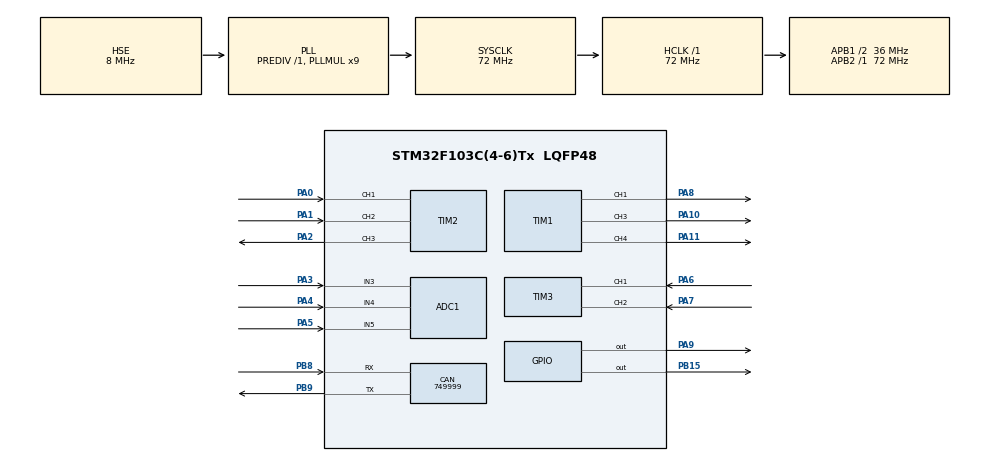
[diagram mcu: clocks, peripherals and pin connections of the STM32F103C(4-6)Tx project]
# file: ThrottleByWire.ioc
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ADC1.Channel-3\#ChannelRegularConversion=ADC_CHANNEL_3
ADC1.ContinuousConvMode=ENABLE
ADC1.NbrOfConversionFlag=1
ADC1.Rank-3\#ChannelRegularConversion=1
ADC1.SamplingTime-3\#ChannelRegularConversion=ADC_SAMPLETIME_1CYCLE_5
ADC1.master=1
CAN.CalculateBaudRate=749999
CAN.CalculateTimeBit=1333
CAN.CalculateTimeQuantum=444.44444444444446
Mcu.Family=STM32F1
Mcu.Name=STM32F103C(4-6)Tx
Mcu.Package=LQFP48
NVIC.PriorityGroup=NVIC_PRIORITYGROUP_4
PA0-WKUP.Signal=S_TIM2_CH1_ETR
PA1.Signal=S_TIM2_CH2
PA10.Signal=S_TIM1_CH3
PA11.Signal=S_TIM1_CH4
PA13.Mode=Serial_Wire
PA13.Signal=SYS_JTMS-SWDIO
PA14.Mode=Serial_Wire
PA14.Signal=SYS_JTCK-SWCLK
PA2.Signal=S_TIM2_CH3
PA3.Signal=ADCx_IN3
PA4.Signal=ADCx_IN4
PA5.Signal=ADCx_IN5
PA6.Signal=S_TIM3_CH1
PA7.Signal=S_TIM3_CH2
PA8.Signal=S_TIM1_CH1
PA9.Signal=GPIO_Output
PB15.Signal=GPIO_Output
PB8.Mode=CAN_Activate
PB8.Signal=CAN_RX
PB9.Mode=CAN_Activate
PB9.Signal=CAN_TX
PD0-OSC_IN.Mode=HSE-External-Oscillator
PD0-OSC_IN.Signal=RCC_OSC_IN
PD1-OSC_OUT.Mode=HSE-External-Oscillator
PD1-OSC_OUT.Signal=RCC_OSC_OUT
ProjectManager.HeapSize=0x200
ProjectManager.StackSize=0x400
ProjectManager.TargetToolchain=STM32CubeIDE
RCC.ADCPresc=RCC_ADCPCLK2_DIV6
RCC.AHBFreq_Value=72000000
RCC.APB1CLKDivider=RCC_HCLK_DIV2
RCC.APB1Freq_Value=36000000
RCC.APB1TimFreq_Value=72000000
RCC.APB2Freq_Value=72000000
RCC.APB2TimFreq_Value=72000000
RCC.HCLKFreq_Value=72000000
RCC.PLLMUL=RCC_PLL_MUL9
RCC.PLLSourceVirtual=RCC_PLLSOURCE_HSE
RCC.SYSCLKFreq_VALUE=72000000
RCC.SYSCLKSource=RCC_SYSCLKSOURCE_PLLCLK
RCC.USBFreq_Value=72000000
SH.ADCx_IN3.0=ADC1_IN3,IN3
SH.ADCx_IN4.0=ADC1_IN4,IN4
SH.ADCx_IN5.0=ADC1_IN5,IN5
SH.S_TIM1_CH1.0=TIM1_CH1,PWM Generation1 CH1
SH.S_TIM1_CH3.0=TIM1_CH3,PWM Generation3 CH3
SH.S_TIM1_CH4.0=TIM1_CH4,PWM Generation4 CH4
SH.S_TIM2_CH1_ETR.0=TIM2_CH1,Encoder_Interface
SH.S_TIM2_CH2.0=TIM2_CH2,Encoder_Interface
SH.S_TIM2_CH3.0=TIM2_CH3,PWM Generation3 CH3
SH.S_TIM3_CH1.0=TIM3_CH1,Encoder_Interface
SH.S_TIM3_CH2.0=TIM3_CH2,Encoder_Interface
TIM1.Channel-PWM\ Generation1\ CH1=TIM_CHANNEL_1
TIM1.Channel-PWM\ Generation3\ CH3=TIM_CHANNEL_3
TIM1.Channel-PWM\ Generation4\ CH4=TIM_CHANNEL_4
TIM2.Channel-PWM\ Generation3\ CH3=TIM_CHANNEL_3
board=custom

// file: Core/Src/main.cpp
/* USER CODE BEGIN Header */
/**
  ******************************************************************************
  * @file           : main.c
  * @brief          : Main program body
  ******************************************************************************
  * @attention
  *
  * Copyright (c) 2025 STMicroelectronics.
  * All rights reserved.
  *
  * This software is licensed under terms that can be found in the LICENSE file
  * in the root directory of this software component.
  * If no LICENSE file comes with this software, it is provided AS-IS.
  *
  ******************************************************************************
  */
/* USER CODE END Header */
#include <main.hpp>
#include "CAN_Bus.hpp"
#include "throttle.hpp"
/* USER CODE END Includes */

ADC_HandleTypeDef hadc1;

CAN_HandleTypeDef hcan;

TIM_HandleTypeDef htim1;
TIM_HandleTypeDef htim2;
TIM_HandleTypeDef htim3;

/* USER CODE BEGIN PV */
uint8_t throttleLevel;
CANBus globalCanBus;

CAN_RxHeaderTypeDef RxHeader;  // CAN transmit header
uint8_t RxData[8];
uint32_t can_id;
uint32_t received_value;
uint32_t received_value2;

typedef struct {
    uint8_t error_warning_flag;
    uint8_t error_passive_flag;
    uint8_t bus_off_flag;
    uint8_t stuff_error;
    uint8_t form_error;
    uint8_t acknowledgment_error;
    uint8_t bit_recessive_error;
    uint8_t bit_dominant_error;
    uint8_t crc_error;
} CAN_ErrorFlags;
/* USER CODE END PV */

void SystemClock_Config(void);
static void MX_GPIO_Init(void);
static void MX_ADC1_Init(void);
static void MX_CAN_Init(void);
static void MX_TIM1_Init(void);
static void MX_TIM2_Init(void);
static void MX_TIM3_Init(void);

/* USER CODE BEGIN 0 */
void HAL_CAN_RxFifo0MsgPendingCallback(CAN_HandleTypeDef *hcan){
	HAL_CAN_GetRxMessage(hcan, CAN_RX_FIFO0, &RxHeader, RxData);
	if (RxHeader.StdId == 446) {
		received_value = globalCanBus.dataMerger(RxData);
		HAL_GPIO_TogglePin(GPIOC, GPIO_PIN_13);
	}
	else if(RxHeader.StdId == 300) {
		received_value2 = globalCanBus.dataMerger(RxData);
	}
	else{
		Error_Handler();
	}

}

void check_CAN_errors(CAN_HandleTypeDef *hcan, CAN_ErrorFlags *error_flags) {
    uint32_t error = HAL_CAN_GetError(hcan);

    // Reset all error flags
    error_flags->error_warning_flag = 0;
    error_flags->error_passive_flag = 0;
    error_flags->bus_off_flag = 0;
    error_flags->stuff_error = 0;
    error_flags->form_error = 0;
    error_flags->acknowledgment_error = 0;
    error_flags->bit_recessive_error = 0;
    error_flags->bit_dominant_error = 0;
    error_flags->crc_error = 0;

    if (error != HAL_CAN_ERROR_NONE) {
        if (error & HAL_CAN_ERROR_EWG) {
            error_flags->error_warning_flag = 1;
        }
        if (error & HAL_CAN_ERROR_EPV) {
            error_flags->error_passive_flag = 1;
        }
        if (error & HAL_CAN_ERROR_BOF) {
            error_flags->bus_off_flag = 1;
        }
        if (error & HAL_CAN_ERROR_STF) {
            error_flags->stuff_error = 1;
        }
        if (error & HAL_CAN_ERROR_FOR) {
            error_flags->form_error = 1;
        }
        if (error & HAL_CAN_ERROR_ACK) {
            error_flags->acknowledgment_error = 1;
        }
        if (error & HAL_CAN_ERROR_BR) {
            error_flags->bit_recessive_error = 1;
        }
        if (error & HAL_CAN_ERROR_BD) {
            error_flags->bit_dominant_error = 1;
        }
        if (error & HAL_CAN_ERROR_CRC) {
            error_flags->crc_error = 1;
        }
    }
}
/* USER CODE END 0 */

int main(void)
{

  /* USER CODE BEGIN 1 */
	  Throttle throttle;

  /* USER CODE END 1 */

  /* MCU Configuration--------------------------------------------------------*/

  /* Reset of all peripherals, Initializes the Flash interface and the Systick. */
  HAL_Init();

  /* Configure the system clock */
  SystemClock_Config();

  /* Initialize all configured peripherals */
  MX_GPIO_Init();
  MX_ADC1_Init();
  MX_CAN_Init();
  MX_TIM1_Init();
  MX_TIM2_Init();
  MX_TIM3_Init();
  /* USER CODE BEGIN 2 */
  HAL_ADC_Start(&hadc1);

  globalCanBus.start(&hcan, CAN_ID_STD);
  uint8_t list[8];
  /* USER CODE END 2 */

  /* USER CODE BEGIN WHILE */
  while (1)
  {

	  throttleLevel = throttle.readThrottle();
	  list[0] = throttleLevel;
	  globalCanBus.transmit(&hcan, list, 200);
    /* USER CODE END WHILE */

  }
}

void SystemClock_Config(void)
{
  RCC_OscInitTypeDef RCC_OscInitStruct = {0};
  RCC_ClkInitTypeDef RCC_ClkInitStruct = {0};
  RCC_PeriphCLKInitTypeDef PeriphClkInit = {0};

  /** Initializes the RCC Oscillators according to the specified parameters
  * in the RCC_OscInitTypeDef structure.
  */
  RCC_OscInitStruct.OscillatorType = RCC_OSCILLATORTYPE_HSE;
  RCC_OscInitStruct.HSEState = RCC_HSE_ON;
  RCC_OscInitStruct.HSEPredivValue = RCC_HSE_PREDIV_DIV1;
  RCC_OscInitStruct.HSIState = RCC_HSI_ON;
  RCC_OscInitStruct.PLL.PLLState = RCC_PLL_ON;
  RCC_OscInitStruct.PLL.PLLSource = RCC_PLLSOURCE_HSE;
  RCC_OscInitStruct.PLL.PLLMUL = RCC_PLL_MUL9;
  if (HAL_RCC_OscConfig(&RCC_OscInitStruct) != HAL_OK)
  {
    Error_Handler();
  }

  /** Initializes the CPU, AHB and APB buses clocks
  */
  RCC_ClkInitStruct.ClockType = RCC_CLOCKTYPE_HCLK|RCC_CLOCKTYPE_SYSCLK
                              |RCC_CLOCKTYPE_PCLK1|RCC_CLOCKTYPE_PCLK2;
  RCC_ClkInitStruct.SYSCLKSource = RCC_SYSCLKSOURCE_PLLCLK;
  RCC_ClkInitStruct.AHBCLKDivider = RCC_SYSCLK_DIV1;
  RCC_ClkInitStruct.APB1CLKDivider = RCC_HCLK_DIV2;
  RCC_ClkInitStruct.APB2CLKDivider = RCC_HCLK_DIV1;

  if (HAL_RCC_ClockConfig(&RCC_ClkInitStruct, FLASH_LATENCY_2) != HAL_OK)
  {
    Error_Handler();
  }
  PeriphClkInit.PeriphClockSelection = RCC_PERIPHCLK_ADC;
  PeriphClkInit.AdcClockSelection = RCC_ADCPCLK2_DIV6;
  if (HAL_RCCEx_PeriphCLKConfig(&PeriphClkInit) != HAL_OK)
  {
    Error_Handler();
  }
}

static void MX_ADC1_Init(void)
{

  ADC_ChannelConfTypeDef sConfig = {0};

  /** Common config
  */
  hadc1.Instance = ADC1;
  hadc1.Init.ScanConvMode = ADC_SCAN_DISABLE;
  hadc1.Init.ContinuousConvMode = ENABLE;
  hadc1.Init.DiscontinuousConvMode = DISABLE;
  hadc1.Init.ExternalTrigConv = ADC_SOFTWARE_START;
  hadc1.Init.DataAlign = ADC_DATAALIGN_RIGHT;
  hadc1.Init.NbrOfConversion = 1;
  if (HAL_ADC_Init(&hadc1) != HAL_OK)
  {
    Error_Handler();
  }

  /** Configure Regular Channel
  */
  sConfig.Channel = ADC_CHANNEL_3;
  sConfig.Rank = ADC_REGULAR_RANK_1;
  sConfig.SamplingTime = ADC_SAMPLETIME_28CYCLES_5;
  if (HAL_ADC_ConfigChannel(&hadc1, &sConfig) != HAL_OK)
  {
    Error_Handler();
  }

}

static void MX_CAN_Init(void)
{

  hcan.Instance = CAN1;
  hcan.Init.Prescaler = 16;
  hcan.Init.Mode = CAN_MODE_NORMAL;
  hcan.Init.SyncJumpWidth = CAN_SJW_1TQ;
  hcan.Init.TimeSeg1 = CAN_BS1_1TQ;
  hcan.Init.TimeSeg2 = CAN_BS2_1TQ;
  hcan.Init.TimeTriggeredMode = DISABLE;
  hcan.Init.AutoBusOff = DISABLE;
  hcan.Init.AutoWakeUp = DISABLE;
  hcan.Init.AutoRetransmission = DISABLE;
  hcan.Init.ReceiveFifoLocked = DISABLE;
  hcan.Init.TransmitFifoPriority = DISABLE;
  if (HAL_CAN_Init(&hcan) != HAL_OK)
  {
    Error_Handler();
  }

}

static void MX_TIM1_Init(void)
{

  TIM_MasterConfigTypeDef sMasterConfig = {0};
  TIM_OC_InitTypeDef sConfigOC = {0};
  TIM_BreakDeadTimeConfigTypeDef sBreakDeadTimeConfig = {0};

  htim1.Instance = TIM1;
  htim1.Init.Prescaler = 0;
  htim1.Init.CounterMode = TIM_COUNTERMODE_UP;
  htim1.Init.Period = 65535;
  htim1.Init.ClockDivision = TIM_CLOCKDIVISION_DIV1;
  htim1.Init.RepetitionCounter = 0;
  htim1.Init.AutoReloadPreload = TIM_AUTORELOAD_PRELOAD_DISABLE;
  if (HAL_TIM_PWM_Init(&htim1) != HAL_OK)
  {
    Error_Handler();
  }
  sMasterConfig.MasterOutputTrigger = TIM_TRGO_RESET;
  sMasterConfig.MasterSlaveMode = TIM_MASTERSLAVEMODE_DISABLE;
  if (HAL_TIMEx_MasterConfigSynchronization(&htim1, &sMasterConfig) != HAL_OK)
  {
    Error_Handler();
  }
  sConfigOC.OCMode = TIM_OCMODE_PWM1;
  sConfigOC.Pulse = 0;
  sConfigOC.OCPolarity = TIM_OCPOLARITY_HIGH;
  sConfigOC.OCNPolarity = TIM_OCNPOLARITY_HIGH;
  sConfigOC.OCFastMode = TIM_OCFAST_DISABLE;
  sConfigOC.OCIdleState = TIM_OCIDLESTATE_RESET;
  sConfigOC.OCNIdleState = TIM_OCNIDLESTATE_RESET;
  if (HAL_TIM_PWM_ConfigChannel(&htim1, &sConfigOC, TIM_CHANNEL_1) != HAL_OK)
  {
    Error_Handler();
  }
  if (HAL_TIM_PWM_ConfigChannel(&htim1, &sConfigOC, TIM_CHANNEL_3) != HAL_OK)
  {
    Error_Handler();
  }
  if (HAL_TIM_PWM_ConfigChannel(&htim1, &sConfigOC, TIM_CHANNEL_4) != HAL_OK)
  {
    Error_Handler();
  }
  sBreakDeadTimeConfig.OffStateRunMode = TIM_OSSR_DISABLE;
  sBreakDeadTimeConfig.OffStateIDLEMode = TIM_OSSI_DISABLE;
  sBreakDeadTimeConfig.LockLevel = TIM_LOCKLEVEL_OFF;
  sBreakDeadTimeConfig.DeadTime = 0;
  sBreakDeadTimeConfig.BreakState = TIM_BREAK_DISABLE;
  sBreakDeadTimeConfig.BreakPolarity = TIM_BREAKPOLARITY_HIGH;
  sBreakDeadTimeConfig.AutomaticOutput = TIM_AUTOMATICOUTPUT_DISABLE;
  if (HAL_TIMEx_ConfigBreakDeadTime(&htim1, &sBreakDeadTimeConfig) != HAL_OK)
  {
    Error_Handler();
  }
  HAL_TIM_MspPostInit(&htim1);

}

static void MX_TIM2_Init(void)
{

  TIM_Encoder_InitTypeDef sConfig = {0};
  TIM_MasterConfigTypeDef sMasterConfig = {0};
  TIM_OC_InitTypeDef sConfigOC = {0};

  htim2.Instance = TIM2;
  htim2.Init.Prescaler = 0;
  htim2.Init.CounterMode = TIM_COUNTERMODE_UP;
  htim2.Init.Period = 65535;
  htim2.Init.ClockDivision = TIM_CLOCKDIVISION_DIV1;
  htim2.Init.AutoReloadPreload = TIM_AUTORELOAD_PRELOAD_DISABLE;
  if (HAL_TIM_PWM_Init(&htim2) != HAL_OK)
  {
    Error_Handler();
  }
  sConfig.EncoderMode = TIM_ENCODERMODE_TI1;
  sConfig.IC1Polarity = TIM_ICPOLARITY_RISING;
  sConfig.IC1Selection = TIM_ICSELECTION_DIRECTTI;
  sConfig.IC1Prescaler = TIM_ICPSC_DIV1;
  sConfig.IC1Filter = 0;
  sConfig.IC2Polarity = TIM_ICPOLARITY_RISING;
  sConfig.IC2Selection = TIM_ICSELECTION_DIRECTTI;
  sConfig.IC2Prescaler = TIM_ICPSC_DIV1;
  sConfig.IC2Filter = 0;
  if (HAL_TIM_Encoder_Init(&htim2, &sConfig) != HAL_OK)
  {
    Error_Handler();
  }
  sMasterConfig.MasterOutputTrigger = TIM_TRGO_RESET;
  sMasterConfig.MasterSlaveMode = TIM_MASTERSLAVEMODE_DISABLE;
  if (HAL_TIMEx_MasterConfigSynchronization(&htim2, &sMasterConfig) != HAL_OK)
  {
    Error_Handler();
  }
  sConfigOC.OCMode = TIM_OCMODE_PWM1;
  sConfigOC.Pulse = 0;
  sConfigOC.OCPolarity = TIM_OCPOLARITY_HIGH;
  sConfigOC.OCFastMode = TIM_OCFAST_DISABLE;
  if (HAL_TIM_PWM_ConfigChannel(&htim2, &sConfigOC, TIM_CHANNEL_3) != HAL_OK)
  {
    Error_Handler();
  }
  HAL_TIM_MspPostInit(&htim2);

}

static void MX_TIM3_Init(void)
{

  TIM_Encoder_InitTypeDef sConfig = {0};
  TIM_MasterConfigTypeDef sMasterConfig = {0};

  htim3.Instance = TIM3;
  htim3.Init.Prescaler = 0;
  htim3.Init.CounterMode = TIM_COUNTERMODE_UP;
  htim3.Init.Period = 65535;
  htim3.Init.ClockDivision = TIM_CLOCKDIVISION_DIV1;
  htim3.Init.AutoReloadPreload = TIM_AUTORELOAD_PRELOAD_DISABLE;
  sConfig.EncoderMode = TIM_ENCODERMODE_TI1;
  sConfig.IC1Polarity = TIM_ICPOLARITY_RISING;
  sConfig.IC1Selection = TIM_ICSELECTION_DIRECTTI;
  sConfig.IC1Prescaler = TIM_ICPSC_DIV1;
  sConfig.IC1Filter = 0;
  sConfig.IC2Polarity = TIM_ICPOLARITY_RISING;
  sConfig.IC2Selection = TIM_ICSELECTION_DIRECTTI;
  sConfig.IC2Prescaler = TIM_ICPSC_DIV1;
  sConfig.IC2Filter = 0;
  if (HAL_TIM_Encoder_Init(&htim3, &sConfig) != HAL_OK)
  {
    Error_Handler();
  }
  sMasterConfig.MasterOutputTrigger = TIM_TRGO_RESET;
  sMasterConfig.MasterSlaveMode = TIM_MASTERSLAVEMODE_DISABLE;
  if (HAL_TIMEx_MasterConfigSynchronization(&htim3, &sMasterConfig) != HAL_OK)
  {
    Error_Handler();
  }

}

static void MX_GPIO_Init(void)
{
  GPIO_InitTypeDef GPIO_InitStruct = {0};

  /* GPIO Ports Clock Enable */
  __HAL_RCC_GPIOD_CLK_ENABLE();
  __HAL_RCC_GPIOA_CLK_ENABLE();
  __HAL_RCC_GPIOB_CLK_ENABLE();
  __HAL_RCC_GPIOC_CLK_ENABLE();

  /*Configure GPIO pin Output Level */
  HAL_GPIO_WritePin(GPIOB, GPIO_PIN_15, GPIO_PIN_RESET);

  /*Configure GPIO pin Output Level */
  HAL_GPIO_WritePin(GPIOA, GPIO_PIN_9, GPIO_PIN_RESET);
  HAL_GPIO_WritePin(GPIOC, GPIO_PIN_13, GPIO_PIN_RESET);

  /*Configure GPIO pin : PB15 */
  GPIO_InitStruct.Pin = GPIO_PIN_15;
  GPIO_InitStruct.Mode = GPIO_MODE_OUTPUT_PP;
  GPIO_InitStruct.Pull = GPIO_NOPULL;
  GPIO_InitStruct.Speed = GPIO_SPEED_FREQ_LOW;
  HAL_GPIO_Init(GPIOB, &GPIO_InitStruct);

  /*Configure GPIO pin : PA9 */
  GPIO_InitStruct.Pin = GPIO_PIN_9;
  GPIO_InitStruct.Mode = GPIO_MODE_OUTPUT_PP;
  GPIO_InitStruct.Pull = GPIO_NOPULL;
  GPIO_InitStruct.Speed = GPIO_SPEED_FREQ_LOW;
  HAL_GPIO_Init(GPIOA, &GPIO_InitStruct);

/* USER CODE BEGIN MX_GPIO_Init_2 */
  GPIO_InitStruct.Pin = GPIO_PIN_13;
  GPIO_InitStruct.Mode = GPIO_MODE_OUTPUT_PP;
  GPIO_InitStruct.Pull = GPIO_PULLUP;
  GPIO_InitStruct.Speed = GPIO_SPEED_FREQ_MEDIUM;
  HAL_GPIO_Init(GPIOC, &GPIO_InitStruct);
/* USER CODE END MX_GPIO_Init_2 */
}

void Error_Handler(void)
{
  __disable_irq();
  while (1)
  {
  }
}
